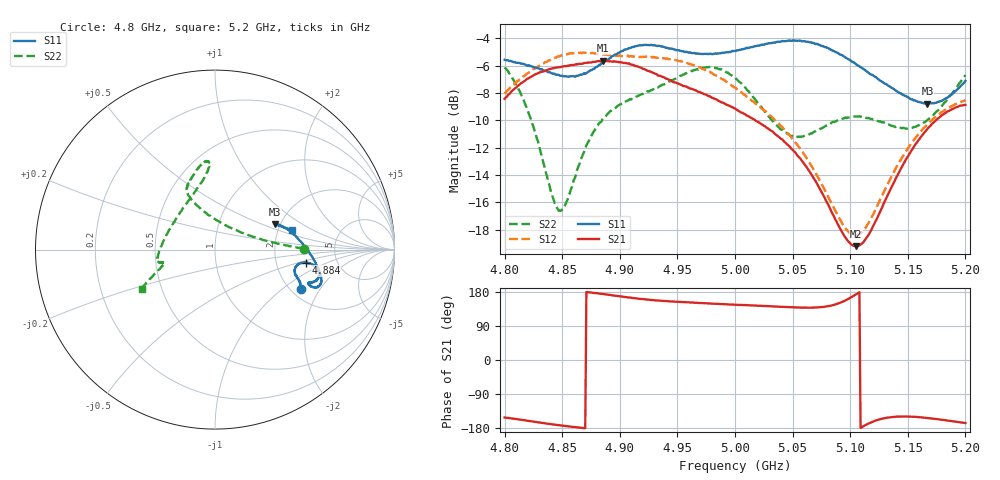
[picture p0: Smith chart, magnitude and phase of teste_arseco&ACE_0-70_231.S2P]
! Network Analyzer HP8722D
! Hewlett-Packard
! Data name: Linha & Wilkinson
! Saver's name: Rodrigo Anjos
! Comments: Teste da utilização de aquisição
! continua pelo VNA HP8722D
! Time and date: 8/5/2025 14:41
!  Frequency  S11  S21  S12  S22
# HZ  S  MA R 50
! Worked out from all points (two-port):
!   401 points, 4.8 GHz to 5.2 GHz, reference 50 ohm
!   highest |S21| = -5.64 dB at 4.885 GHz (marker M1); lowest = -19.2 dB at 5.105 GHz (marker M2)
!   |S21| within 3 dB of the highest: start of sweep to 4.987 GHz
!   lowest |S11| = -8.8 dB at 5.167 GHz (marker M3), VSWR 2.15, Z = 93.8 + j30.9 ohm
!   |S11| at or under -10 dB: nowhere
!   |S22| runs from -16.6 to -6.1 dB; largest |S21 - S12| = 1.1
!   S11 on the Smith chart (normalised r, x): 4.8 GHz: 2.24, -1.38; 4.884 GHz: 2.96, -0.59; 5.2 GHz: 2.37, +0.65
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4.8e9  0.5268 -25.0  0.3791 -151.8  0.3962 7.7  0.4939 0.5
4.82e9  0.5015 -20.6  0.4495 -160.3  0.4701 4.8  0.3443 6.0
4.846e9  0.4642 -16.3  0.4942 -171.4  0.5419 0.5  0.1499 53.8
4.853e9  0.4588 -14.8  0.4989 -174.3  0.5518 -0.8  0.1563 80.2
4.867e9  0.4647 -10.8  0.5093 -178.9  0.557 -2.7  0.2316 107.9
4.884e9  0.5108 -8.3  0.5212 174.6  0.5504 -3.8  0.3125 115.5
4.885e9  0.5134 -7.9  0.5226 174.4  0.5507 -3.8  0.3192 115.3
4.912e9  0.5872 -11.7  0.5043 163.4  0.5412 -2.9  0.3822 113.8
4.934e9  0.5931 -16.8  0.4605 156.8  0.537 -3.8  0.4196 108.1
4.975e9  0.5535 -20.0  0.3927 149.7  0.4836 -7.3  0.4951 95.9
5e9  0.5683 -20.7  0.3495 145.9  0.4173 -7.1  0.4541 94.7
5.041e9  0.6177 -18.9  0.2691 140.3  0.2991 0.4  0.2914 128.2
5.053e9  0.6191 -17.1  0.2391 138.8  0.2607 3.4  0.275 146.0
5.067e9  0.6081 -14.1  0.1984 138.3  0.2135 8.5  0.2832 165.2
5.094e9  0.5441 -4.3  0.1211 154.6  0.1306 34.4  0.3211 -173.1
5.105e9  0.5073 1.0  0.1094 173.3  0.1198 55.6  0.3267 -169.5
5.116e9  0.4718 6.4  0.1205 -167.7  0.1331 76.2  0.3225 -167.5
5.134e9  0.4213 15.5  0.1733 -151.5  0.1899 94.2  0.3044 -166.4
5.151e9  0.3823 21.4  0.2368 -149.4  0.2533 99.0  0.2964 -165.0
5.167e9  0.3642 23.1  0.2937 -153.0  0.3062 99.7  0.3168 -161.9
5.183e9  0.3801 20.5  0.3372 -159.2  0.3468 99.7  0.3703 -157.5
5.2e9  0.4409 14.5  0.36 -166.3  0.3754 100.2  0.463 -152.0
